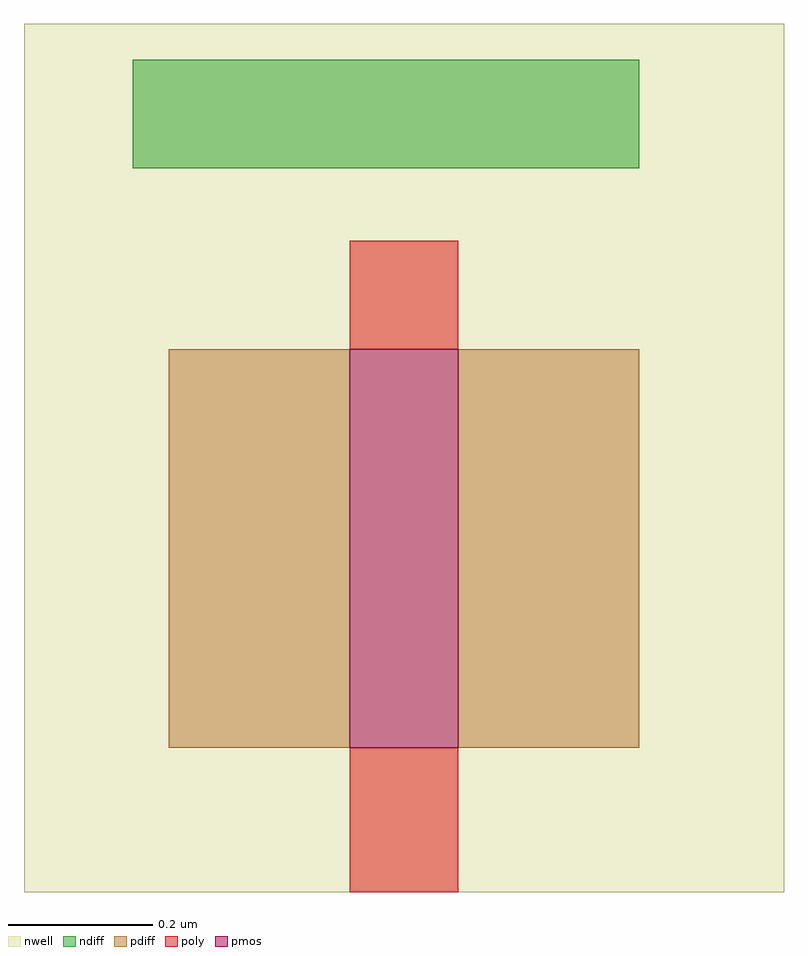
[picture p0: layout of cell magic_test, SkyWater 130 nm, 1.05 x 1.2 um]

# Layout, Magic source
magic
tech sky130A
magscale 1 2
<< nwell >>
rect -60 -50 150 190
<< pmos >>
rect 30 -10 60 100
<< ndiff >>
rect -30 150 110 180
<< pdiff >>
rect -20 -10 30 100
rect 60 -10 110 100
<< poly >>
rect 30 100 60 130
rect 30 -50 60 -10
<< end >>
